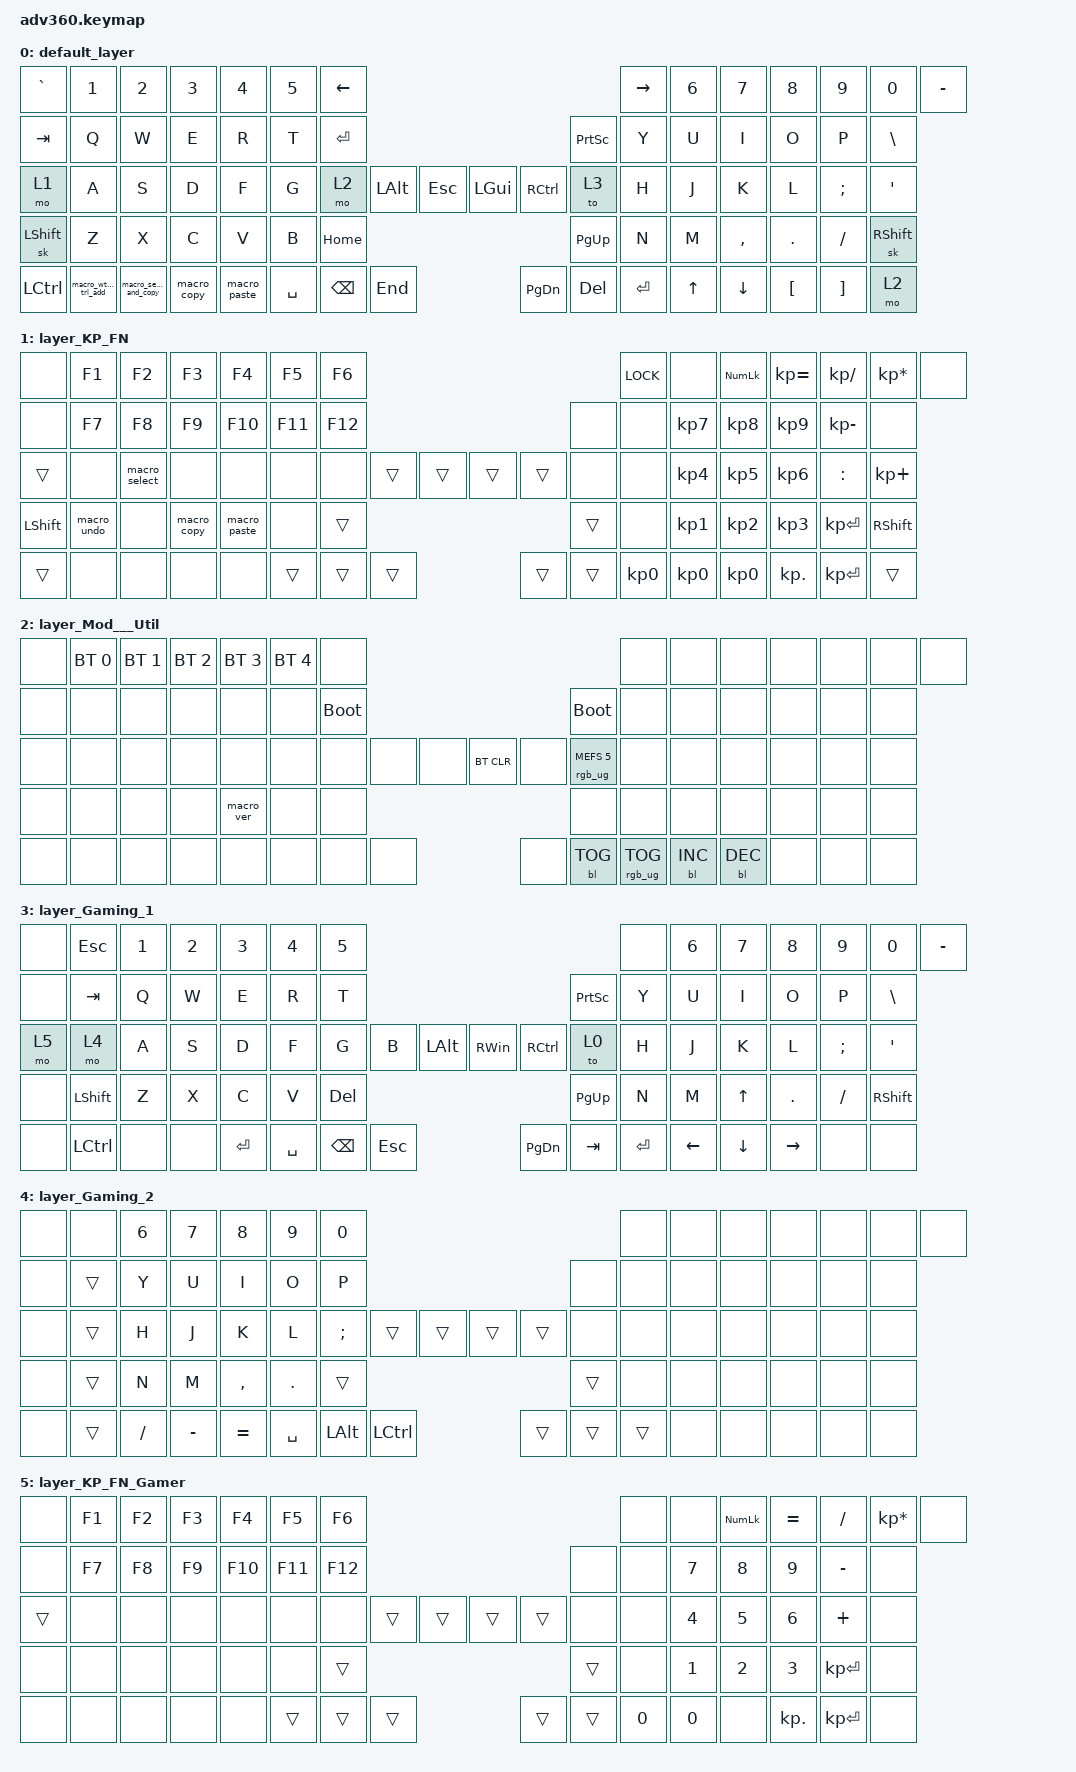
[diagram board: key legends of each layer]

/*
 * Copyright (c) 2020 The ZMK Contributors
 *
 * SPDX-License-Identifier: MIT
 */


/* THIS FILE WAS GENERATED!
 *
 * This file was generated automatically. You may or may not want to
 * edit it directly.
 */

#include <behaviors.dtsi>
#include <dt-bindings/zmk/keys.h>
#include <dt-bindings/zmk/bt.h>
#include <dt-bindings/zmk/rgb.h>
#include <dt-bindings/zmk/backlight.h>

/ {
  behaviors {
    #include "macros.dtsi"
    #include "version.dtsi"

    hm: homerow_mods {
        compatible = "zmk,behavior-hold-tap";
        label = "HOMEROW_MODS";
        #binding-cells = <2>;
        tapping-term-ms = <200>;
        quick_tap_ms = <175>;
        flavor = "tap-preferred";
        bindings = <&kp>, <&kp>;
    };
  };

    keymap {
        compatible = "zmk,keymap";


        default_layer {
            bindings = <
      &kp GRAVE               &kp N1                  &kp N2       &kp N3        &kp N4  &kp N5            &kp LEFT_ARROW                                                                 &kp RIGHT_ARROW  &kp N6  &kp N7     &kp N8    &kp N9    &kp N0        &kp MINUS
        &kp TAB                &kp Q                   &kp W        &kp E         &kp R   &kp T                 &kp ENTER                                                                 &kp PRINTSCREEN   &kp Y   &kp U      &kp I     &kp O     &kp P         &kp BSLH
          &mo 1                &kp A                   &kp S        &kp D         &kp F   &kp G                     &mo 2       &kp LALT   &kp ESC                   &kp LGUI  &kp RCTRL            &to 3   &kp H   &kp J      &kp K     &kp L  &kp SEMI          &kp SQT
 &sk LEFT_SHIFT                &kp Z                   &kp X        &kp C         &kp V   &kp B                                           &kp HOME                  &kp PG_UP                               &kp N   &kp M  &kp COMMA   &kp DOT  &kp FSLH  &sk RIGHT_SHIFT
      &kp LCTRL  &macro_wtms_trl_add  &macro_select_and_copy  &macro_copy  &macro_paste                         &kp SPACE  &kp BACKSPACE   &kp END                  &kp PG_DN    &kp DEL        &kp ENTER          &kp UP   &kp DOWN  &kp LBKT  &kp RBKT            &mo 2
            >;
        };

        layer_KP_FN {
            bindings = <
     &none       &kp F1         &kp F2       &kp F3        &kp F4   &kp F5             &kp F6                                                       &kp K_LOCK   &none  &kp KP_NUM  &kp KP_EQUAL  &kp KP_DIVIDE  &kp KP_MULTIPLY        &none
     &none       &kp F7         &kp F8       &kp F9       &kp F10  &kp F11            &kp F12                                                            &none   &none   &kp KP_N7     &kp KP_N8      &kp KP_N9     &kp KP_MINUS        &none
    &trans        &none  &macro_select        &none         &none    &none              &none  &trans  &trans                  &trans  &trans            &none   &none   &kp KP_N4     &kp KP_N5      &kp KP_N6        &kp COLON  &kp KP_PLUS
 &kp LSHFT  &macro_undo          &none  &macro_copy  &macro_paste    &none                             &trans                  &trans                            &none   &kp KP_N1     &kp KP_N2      &kp KP_N3     &kp KP_ENTER    &kp RSHFT
    &trans        &none          &none        &none         &none                      &trans  &trans  &trans                  &trans  &trans  &kp KP_NUMBER_0           &kp KP_N0     &kp KP_N0     &kp KP_DOT     &kp KP_ENTER       &trans
            >;
        };

        layer_Mod___Util {
            bindings = <
  &none  &bt BT_SEL 0  &bt BT_SEL 1  &bt BT_SEL 2  &bt BT_SEL 3  &bt BT_SEL 4                  &none                                                                           &none   &none       &none       &none   &none   &none   &none
  &none         &none         &none         &none         &none         &none            &bootloader                                                                     &bootloader   &none       &none       &none   &none   &none   &none
  &none         &none         &none         &none         &none         &none                  &none   &none   &none                  &bt BT_CLR       &none  &rgb_ug RGB_MEFS_CMD 5   &none       &none       &none   &none   &none   &none
  &none         &none         &none         &none    &macro_ver         &none                                  &none                       &none                                       &none       &none       &none   &none   &none   &none
  &none         &none         &none         &none         &none                                &none   &none   &none                       &none  &bl BL_TOG         &rgb_ug RGB_TOG          &bl BL_INC  &bl BL_DEC   &none   &none   &none
            >;
        };

        layer_Gaming_1 {
            bindings = <
  &none         &kp ESC  &kp N1  &kp N2     &kp N3  &kp N4               &kp N5                                                                                   &none  &kp N6          &kp N7          &kp N8           &kp N9         &kp N0        &kp MINUS
  &none         &kp TAB   &kp Q   &kp W      &kp E   &kp R                &kp T                                                                         &kp PRINTSCREEN   &kp Y           &kp U           &kp I            &kp O          &kp P    &kp BACKSLASH
  &mo 5           &mo 4   &kp A   &kp S      &kp D   &kp F                &kp G          &kp B  &kp LEFT_ALT                  &kp RIGHT_WIN  &kp RCTRL            &to 0   &kp H           &kp J           &kp K            &kp L  &kp SEMICOLON   &kp APOSTROPHE
  &none  &kp LEFT_SHIFT   &kp Z   &kp X      &kp C   &kp V                                        &kp DELETE                      &kp PG_UP                               &kp N           &kp M    &kp UP_ARROW       &kp PERIOD      &kp SLASH  &kp RIGHT_SHIFT
  &none       &kp LCTRL   &none   &none  &kp ENTER                    &kp SPACE  &kp BACKSPACE       &kp ESC                      &kp PG_DN    &kp TAB        &kp ENTER          &kp LEFT_ARROW  &kp DOWN_ARROW  &kp RIGHT_ARROW          &none            &none
            >;
        };

        layer_Gaming_2 {
            bindings = <
  &none   &none     &kp N6     &kp N7     &kp N8      &kp N9                   &kp N0                                                            &none   &none   &none   &none   &none   &none   &none
  &none  &trans      &kp Y      &kp U      &kp I       &kp O                    &kp P                                                            &none   &none   &none   &none   &none   &none   &none
  &none  &trans      &kp H      &kp J      &kp K       &kp L            &kp SEMICOLON        &trans     &trans                  &trans  &trans   &none   &none   &none   &none   &none   &none   &none
  &none  &trans      &kp N      &kp M  &kp COMMA  &kp PERIOD                                            &trans                  &trans                   &none   &none   &none   &none   &none   &none
  &none  &trans  &kp SLASH  &kp MINUS  &kp EQUAL                            &kp SPACE  &kp LEFT_ALT  &kp LCTRL                  &trans  &trans  &trans           &none   &none   &none   &none   &none
            >;
        };

        layer_KP_FN_Gamer {
            bindings = <
  &none  &kp F1  &kp F2  &kp F3   &kp F4   &kp F5             &kp F6                                                   &none   &none  &kp KP_NUMLOCK  &kp EQUAL   &kp SLASH  &kp KP_MULTIPLY   &none
  &none  &kp F7  &kp F8  &kp F9  &kp F10  &kp F11            &kp F12                                                   &none   &none          &kp N7     &kp N8      &kp N9        &kp MINUS   &none
 &trans   &none   &none   &none    &none    &none              &none  &trans  &trans                  &trans  &trans   &none   &none          &kp N4     &kp N5      &kp N6         &kp PLUS   &none
  &none   &none   &none   &none    &none    &none                             &trans                  &trans                   &none          &kp N1     &kp N2      &kp N3     &kp KP_ENTER   &none
  &none   &none   &none   &none    &none                      &trans  &trans  &trans                  &trans  &trans  &kp N0                  &kp N0      &none  &kp KP_DOT     &kp KP_ENTER   &none
            >;
        };

    };
};
